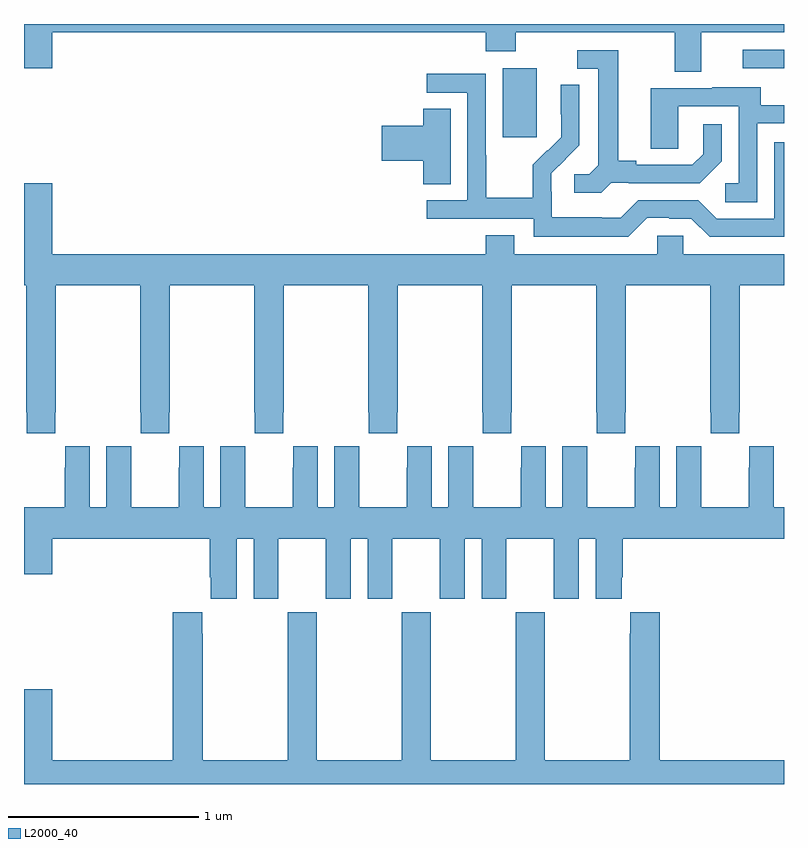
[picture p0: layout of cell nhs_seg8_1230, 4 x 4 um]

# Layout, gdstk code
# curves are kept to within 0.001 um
import gdstk
lib = gdstk.Library(unit=1e-6, precision=1e-09)
def R(c, l, rs):  # rectangles x0, y0, x1, y1
    for r in rs: c.add(gdstk.rectangle(r[:2], r[2:], *l))
def P(c, l, *ps):  # polygons
    for p in ps: c.add(gdstk.Polygon(p, *l))
L2000_40 = (2000, 40)

nhs_seg8_1230 = lib.new_cell('nhs_seg8_1230')
R(nhs_seg8_1230, L2000_40, [(191.519,1093.305,191.698,1093.666), (192.783,1093.668,193,1093.764)])
P(nhs_seg8_1230, L2000_40, [(192.565,1093.856),(193,1093.856),(193,1093.9),(189,1093.9),(189,1093.668),(189.148,1093.668),(189.148,1093.856),(191.429,1093.856),(191.429,1093.757),(191.589,1093.757),(191.589,1093.856),(192.425,1093.856),(192.425,1093.648),(192.565,1093.648)],
  [(192.09,1093.065),(192.184,1093.065),(192.184,1093.062),(192.556,1093.062),(192.672,1093.178),(192.672,1093.372),(192.575,1093.372),(192.575,1093.215),(192.518,1093.158),(192.223,1093.158),(192.223,1093.181),(192.127,1093.181),(192.127,1093.761),(191.913,1093.761),(191.913,1093.665),(192.023,1093.665),(192.023,1093.157),(191.976,1093.11),(191.895,1093.11),(191.895,1093.013),(192.038,1093.013)],
  [(192.279,1092.879),(192.395,1092.879),(192.395,1092.876),(192.513,1092.876),(192.609,1092.78),(193,1092.78),(193,1093.278),(192.948,1093.278),(192.948,1092.876),(192.645,1092.876),(192.549,1092.972),(192.234,1092.972),(192.141,1092.879),(192.041,1092.879),(192.041,1092.883),(191.778,1092.883),(191.778,1093.017),(191.776,1093.017),(191.776,1093.114),(191.922,1093.262),(191.922,1093.58),(191.826,1093.58),(191.826,1093.426),(191.828,1093.426),(191.828,1093.304),(191.757,1093.233),(191.754,1093.236),(191.677,1093.159),(191.677,1092.985),(191.433,1092.985),(191.433,1093.208),(191.43,1093.208),(191.43,1093.638),(191.121,1093.638),(191.121,1093.539),(191.334,1093.539),(191.334,1092.972),(191.121,1092.972),(191.121,1092.876),(191.682,1092.876),(191.682,1092.779),(192.179,1092.779)],
  [(192.858,1093.377),(193,1093.377),(193,1093.473),(192.877,1093.473),(192.877,1093.567),(192.623,1093.567),(192.623,1093.563),(192.299,1093.563),(192.299,1093.243),(192.444,1093.243),(192.444,1093.467),(192.762,1093.467),(192.762,1093.062),(192.69,1093.062),(192.69,1092.961),(192.858,1092.961)],
  [(191.245,1093.454),(191.102,1093.454),(191.102,1093.364),(190.884,1093.364),(190.884,1093.181),(191.102,1093.181),(191.102,1093.057),(191.245,1093.057)],
  [(189,1092.524),(189.013,1092.524),(189.013,1091.857),(189.015,1091.857),(189.015,1091.745),(189.165,1091.745),(189.165,1091.857),(189.168,1091.857),(189.168,1092.524),(189.613,1092.524),(189.613,1091.857),(189.615,1091.857),(189.615,1091.745),(189.765,1091.745),(189.765,1091.857),(189.768,1091.857),(189.768,1092.524),(190.213,1092.524),(190.213,1091.857),(190.215,1091.857),(190.215,1091.745),(190.365,1091.745),(190.365,1091.857),(190.368,1091.857),(190.368,1092.524),(190.813,1092.524),(190.813,1091.857),(190.815,1091.857),(190.815,1091.745),(190.965,1091.745),(190.965,1091.857),(190.968,1091.857),(190.968,1092.524),(191.413,1092.524),(191.413,1091.857),(191.415,1091.857),(191.415,1091.745),(191.565,1091.745),(191.565,1091.857),(191.568,1091.857),(191.568,1092.524),(192.013,1092.524),(192.013,1091.857),(192.015,1091.857),(192.015,1091.745),(192.165,1091.745),(192.165,1091.857),(192.168,1091.857),(192.168,1092.524),(192.613,1092.524),(192.613,1091.857),(192.615,1091.857),(192.615,1091.745),(192.765,1091.745),(192.765,1091.857),(192.768,1091.857),(192.768,1092.524),(193,1092.524),(193,1092.688),(192.471,1092.688),(192.471,1092.786),(192.333,1092.786),(192.333,1092.688),(191.581,1092.688),(191.581,1092.787),(191.429,1092.787),(191.429,1092.688),(189.148,1092.688),(189.148,1093.063),(189,1093.063)],
  [(191.365,1091.564),(191.364,1091.564),(191.364,1091.677),(191.234,1091.677),(191.234,1091.356),(191.146,1091.356),(191.146,1091.677),(191.016,1091.677),(191.016,1091.564),(191.015,1091.564),(191.015,1091.356),(190.765,1091.356),(190.765,1091.564),(190.764,1091.564),(190.764,1091.677),(190.634,1091.677),(190.634,1091.356),(190.546,1091.356),(190.546,1091.677),(190.416,1091.677),(190.416,1091.564),(190.415,1091.564),(190.415,1091.356),(190.165,1091.356),(190.165,1091.564),(190.164,1091.564),(190.164,1091.677),(190.034,1091.677),(190.034,1091.356),(189.946,1091.356),(189.946,1091.677),(189.816,1091.677),(189.816,1091.564),(189.815,1091.564),(189.815,1091.356),(189.565,1091.356),(189.565,1091.564),(189.564,1091.564),(189.564,1091.677),(189.434,1091.677),(189.434,1091.356),(189.346,1091.356),(189.346,1091.677),(189.216,1091.677),(189.216,1091.564),(189.215,1091.564),(189.215,1091.356),(189,1091.356),(189,1091.004),(189.148,1091.004),(189.148,1091.192),(189.977,1091.192),(189.977,1090.987),(189.983,1090.987),(189.983,1090.875),(190.12,1090.875),(190.12,1091.192),(190.208,1091.192),(190.208,1090.875),(190.339,1090.875),(190.339,1091.192),(190.589,1091.192),(190.589,1090.875),(190.72,1090.875),(190.72,1091.192),(190.808,1091.192),(190.808,1090.875),(190.939,1090.875),(190.939,1091.192),(191.189,1091.192),(191.189,1090.875),(191.32,1090.875),(191.32,1091.192),(191.408,1091.192),(191.408,1090.875),(191.539,1090.875),(191.539,1091.192),(191.789,1091.192),(191.789,1090.875),(191.92,1090.875),(191.92,1091.192),(192.008,1091.192),(192.008,1090.875),(192.145,1090.875),(192.145,1090.987),(192.152,1090.987),(192.152,1091.192),(193,1091.192),(193,1091.356),(192.946,1091.356),(192.946,1091.677),(192.816,1091.677),(192.816,1091.564),(192.815,1091.564),(192.815,1091.356),(192.565,1091.356),(192.565,1091.564),(192.564,1091.564),(192.564,1091.677),(192.434,1091.677),(192.434,1091.356),(192.346,1091.356),(192.346,1091.677),(192.216,1091.677),(192.216,1091.564),(192.215,1091.564),(192.215,1091.356),(191.965,1091.356),(191.965,1091.564),(191.964,1091.564),(191.964,1091.677),(191.834,1091.677),(191.834,1091.356),(191.746,1091.356),(191.746,1091.677),(191.616,1091.677),(191.616,1091.564),(191.615,1091.564),(191.615,1091.356),(191.365,1091.356)],
  [(193,1090.024),(192.347,1090.024),(192.347,1090.804),(192.191,1090.804),(192.191,1090.691),(192.187,1090.691),(192.187,1090.024),(191.742,1090.024),(191.742,1090.804),(191.587,1090.804),(191.587,1090.024),(191.142,1090.024),(191.142,1090.804),(190.987,1090.804),(190.987,1090.024),(190.542,1090.024),(190.542,1090.804),(190.387,1090.804),(190.387,1090.024),(189.942,1090.024),(189.942,1090.691),(189.937,1090.691),(189.937,1090.804),(189.782,1090.804),(189.782,1090.024),(189.148,1090.024),(189.148,1090.399),(189,1090.399),(189,1089.9),(193,1089.9)])

lib.write_gds('nhs_seg8_1230.gds')
